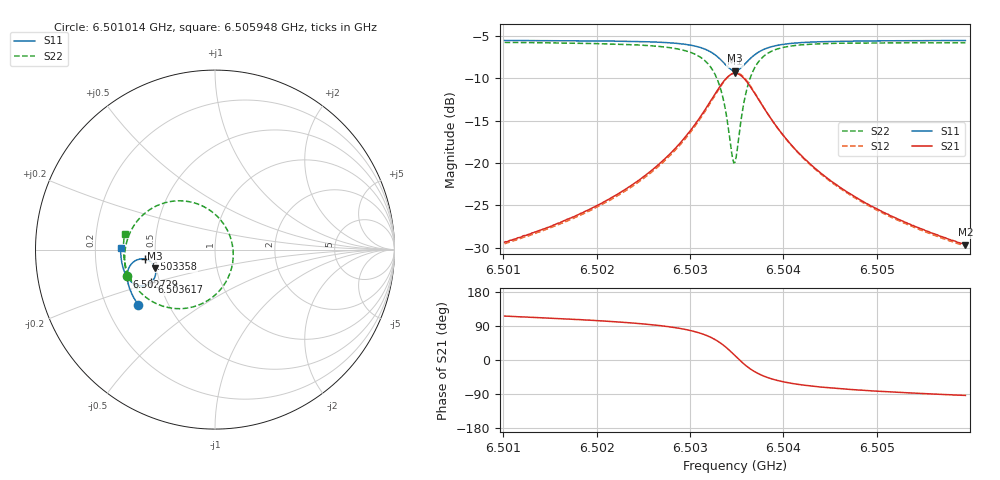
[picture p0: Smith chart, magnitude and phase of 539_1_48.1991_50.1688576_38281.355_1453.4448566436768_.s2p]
#  HZ  S  RI  R  50.00
! Rohde & Schwarz Vector Network Analyzer
! Rohde-Schwarz,ZNB20-2Port,1311601062101988,3.16
! Created: UTC 3/20/2024, 12:00:12 PM
! freq[Hz]  re:S11  im:S11  re:S21  im:S21  re:S12  im:S12  re:S22  im:S22
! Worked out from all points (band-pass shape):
!   401 points, 6.501014 GHz to 6.505948 GHz, reference 50 ohm
!   highest |S21| = -9.43 dB at 6.503481 GHz (marker M1); lowest = -29.6 dB at 6.505948 GHz (marker M2)
!   |S21| within 3 dB of the highest: 6.503235 GHz to 6.503729 GHz (493.6 kHz wide, 0.00759 % of centre)
!   lowest |S11| = -9.1 dB at 6.503481 GHz (marker M3), VSWR 2.07, Z = 24.5 - j5.84 ohm
!   |S11| at or under -10 dB: nowhere
!   |S22| runs from -20.0 to -5.8 dB; largest |S21 - S12| = 0.011
!   S11 on the Smith chart (normalised r, x): 6.501014 GHz: 0.34, -0.29; 6.502729 GHz: 0.33, -0.14; 6.503358 GHz: 0.44, -0.06; 6.503617 GHz: 0.45, -0.19; 6.505948 GHz: 0.31, +0.01
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6.5010141e9  -0.4288 -0.3065  -0.0149 0.0308  -0.0132 0.0309  -0.4911 -0.1498
6.5018406e9  -0.4641 -0.2448  -0.0142 0.0488  -0.0119 0.0483  -0.5033 -0.061
6.5022847e9  -0.4796 -0.2051  -0.0112 0.0678  -0.00832 0.0668  -0.4999 0.00255
6.5026671e9  -0.4885 -0.1623  -0.00169 0.0983  0.0017 0.0961  -0.4795 0.0802
6.5027288e9  -0.489 -0.154  0.0015 0.1057  0.00493 0.1031  -0.4725 0.0963
6.5029508e9  -0.4856 -0.1189  0.0233 0.1409  0.0268 0.1368  -0.4268 0.1669
6.5031112e9  -0.4712 -0.0868  0.0623 0.1768  0.065 0.1713  -0.3509 0.2304
6.5032592e9  -0.4337 -0.0568  0.1437 0.2057  0.1442 0.1999  -0.203 0.2719
6.5033579e9  -0.3874 -0.0538  0.2346 0.1896  0.2347 0.1854  -0.0456 0.2301
6.5034442e9  -0.3445 -0.0825  0.313 0.1158  0.3154 0.1121  0.0799 0.0847
6.5034689e9  -0.3363 -0.0968  0.3265 0.0842  0.3298 0.0798  0.0969 0.025
6.5034812e9  -0.3334 -0.1045  0.3308 0.0672  0.3345 0.0626  0.101 -0.00607
6.5035059e9  -0.3304 -0.1206  0.3346 0.0326  0.3387 0.0266  0.0991 -0.0695
6.5035429e9  -0.3324 -0.1446  0.3275 -0.0174  0.3312 -0.0256  0.0722 -0.1583
6.5036169e9  -0.3544 -0.1817  0.2812 -0.094  0.2816 -0.1049  -0.0369 -0.2817
6.503728e9  -0.3999 -0.202  0.1945 -0.1396  0.1897 -0.1492  -0.2126 -0.3288
6.5038883e9  -0.4471 -0.1926  0.1107 -0.1359  0.104 -0.141  -0.3636 -0.2809
6.504061e9  -0.4752 -0.1712  0.065 -0.115  0.0591 -0.1174  -0.4373 -0.2143
6.5043077e9  -0.4961 -0.1413  0.0346 -0.09  0.03 -0.0906  -0.4812 -0.141
6.5046531e9  -0.5111 -0.1046  0.016 -0.0673  0.0127 -0.067  -0.5032 -0.0697
6.5051342e9  -0.5213 -0.0596  0.00518 -0.0491  0.00289 -0.0484  -0.5104 0.000146
6.5059484e9  -0.5264 0.00969  -0.00199 -0.033  -0.00342 -0.0322  -0.503 0.0874
